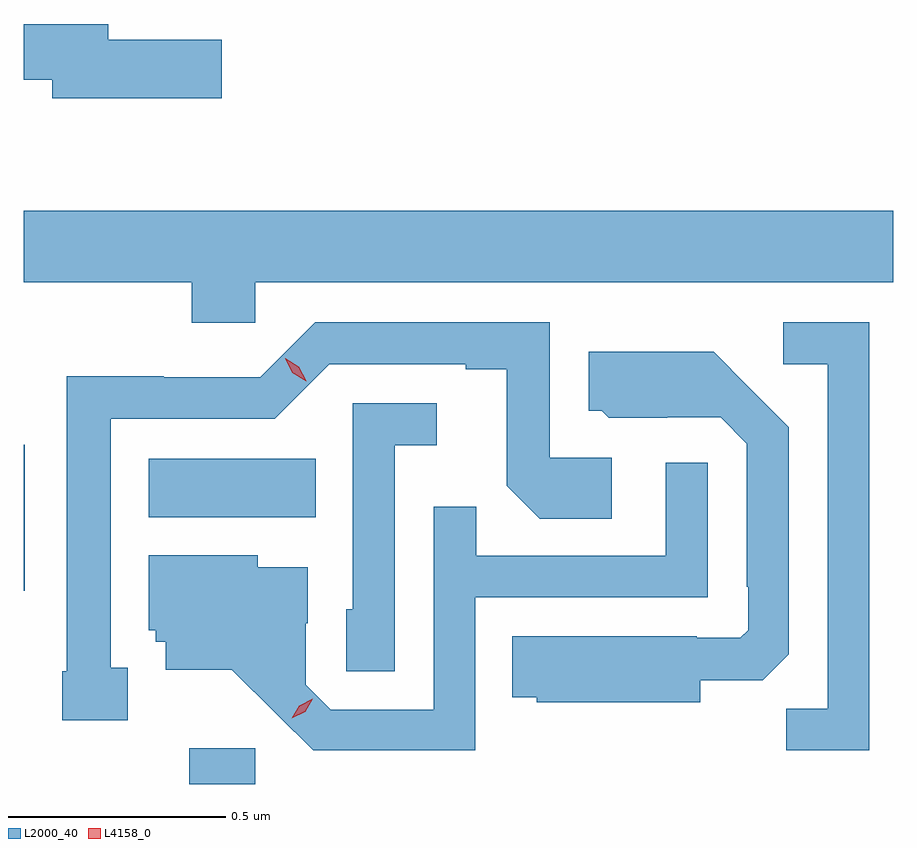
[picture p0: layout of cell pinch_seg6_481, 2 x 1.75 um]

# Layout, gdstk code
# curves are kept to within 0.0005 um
import gdstk
lib = gdstk.Library(unit=1e-6, precision=1e-09)
def R(c, l, rs):  # rectangles x0, y0, x1, y1
    for r in rs: c.add(gdstk.rectangle(r[:2], r[2:], *l))
def P(c, l, *ps):  # polygons
    for p in ps: c.add(gdstk.Polygon(p, *l))
L2000_40 = (2000, 40)
L4158_0 = (4158, 0)

pinch_seg6_481 = lib.new_cell('pinch_seg6_481')
R(pinch_seg6_481, L2000_40, [(759.731,922.206,759.882,922.288), (759.35,922.65,759.352,922.986), (759.638,922.82,760.022,922.954)])
P(pinch_seg6_481, L2000_40, [(759.805,923.918),(759.544,923.918),(759.544,923.954),(759.35,923.954),(759.35,923.826),(759.416,923.826),(759.416,923.783),(759.805,923.783)],
  [(759.882,923.36),(761.35,923.36),(761.35,923.524),(759.35,923.524),(759.35,923.36),(759.736,923.36),(759.736,923.267),(759.882,923.267)],
  [(759.589,922.473),(759.55,922.473),(759.55,923.046),(759.927,923.046),(760.053,923.172),(760.367,923.172),(760.367,923.16),(760.461,923.16),(760.461,922.892),(760.537,922.816),(760.702,922.816),(760.702,922.956),(760.56,922.956),(760.56,923.268),(760.02,923.268),(759.894,923.142),(759.672,923.142),(759.672,923.144),(759.449,923.144),(759.449,922.465),(759.439,922.465),(759.439,922.353),(759.589,922.353)],
  [(761.295,923.268),(761.097,923.268),(761.097,923.172),(761.199,923.172),(761.199,922.379),(761.104,922.379),(761.104,922.284),(761.295,922.284)],
  [(760.906,922.445),(761.05,922.445),(761.109,922.504),(761.109,923.026),(760.937,923.2),(760.649,923.2),(760.649,923.064),(760.68,923.064),(760.696,923.048),(760.83,923.048),(760.83,923.049),(760.953,923.049),(761.013,922.989),(761.013,922.66),(761.016,922.66),(761.016,922.56),(760.998,922.542),(760.898,922.542),(760.898,922.546),(760.474,922.546),(760.474,922.406),(760.53,922.406),(760.53,922.394),(760.906,922.394)],
  [(760.203,922.985),(760.3,922.985),(760.3,923.082),(760.107,923.082),(760.107,922.608),(760.092,922.608),(760.092,922.465),(760.203,922.465)],
  [(760.389,922.635),(760.923,922.635),(760.923,922.945),(760.827,922.945),(760.827,922.731),(760.391,922.731),(760.391,922.844),(760.293,922.844),(760.293,922.377),(760.056,922.377),(759.999,922.434),(759.999,922.576),(760.003,922.576),(760.003,922.705),(759.888,922.705),(759.888,922.732),(759.638,922.732),(759.638,922.56),(759.654,922.56),(759.654,922.533),(759.677,922.533),(759.677,922.469),(759.829,922.469),(760.016,922.284),(760.389,922.284)])
P(pinch_seg6_481, L4158_0, [(759.967,922.357),(759.967,922.357),(759.984,922.386),(760.015,922.402),(760.015,922.402),(760.015,922.402),(759.998,922.372),(759.967,922.357)],
  [(760,923.132),(759.968,923.152),(759.951,923.185),(759.951,923.185),(759.952,923.185),(759.983,923.166),(760,923.133),(760,923.132)])

lib.write_gds('pinch_seg6_481.gds')
